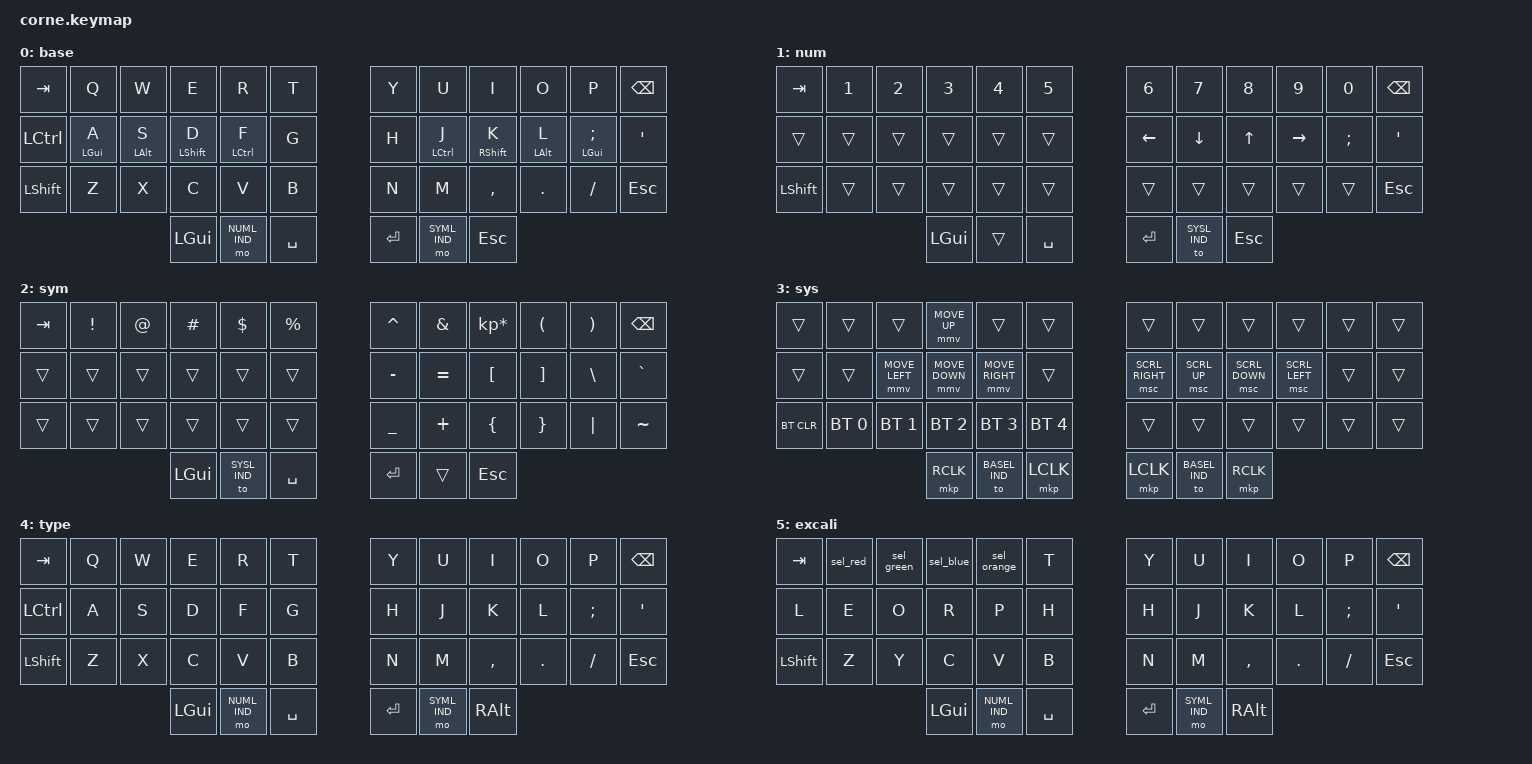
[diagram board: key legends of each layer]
#include <behaviors.dtsi>
#include <dt-bindings/zmk/keys.h>
#include <dt-bindings/zmk/bt.h>
#include <dt-bindings/zmk/mouse.h>

#include "zmk-helpers/helper.h"
#include "zmk-helpers/key-labels/42.h"

#define ___ &trans

#define BASEL_IND 0
#define NUML_IND 1
#define SYML_IND 2
#define SYSL_IND 3
#define TYPEL_IND 4
#define EXCALI_IND 5
// #define MOUL_IND 3

#define KEYS_L LT0 LT1 LT2 LT3 LT4 LT5 LM0 LM1 LM2 LM3 LM4 LM5 LB0 LB1 LB2 LB3 LB4 LB5  // left hand
#define KEYS_R RT0 RT1 RT2 RT3 RT4 RT5 RM0 RM1 RM2 RM3 RM4 RM5 RB0 RB1 RB2 RB3 RB4 RB5  // right hand
#define THUMBS LH2 LH1 LH0 RH0 RH1 RH2                                                  // thumbs on 36+ keys

// ======================= mouse config =======================
#define ZMK_MOUSE_DEFAULT_MOVE_VAL 1500  // 600
#define ZMK_MOUSE_DEFAULT_SCRL_VAL 20    // 10

// Config from @caksoylar, defaults in comments
&mmv {
  acceleration-exponent = <1>;      // 1
  time-to-max-speed-ms = <500>;     // 300
  delay-ms = <0>;                   // 0
};

&msc {
  acceleration-exponent = <1>;      // 0
  time-to-max-speed-ms = <40>;      // 300
  delay-ms = <0>;                   // 0
};

#define U_MS_U &mmv MOVE_UP
#define U_MS_D &mmv MOVE_DOWN
#define U_MS_L &mmv MOVE_LEFT
#define U_MS_R &mmv MOVE_RIGHT
#define U_WH_U &msc SCRL_UP
#define U_WH_D &msc SCRL_DOWN
#define U_WH_L &msc SCRL_LEFT
#define U_WH_R &msc SCRL_RIGHT
// ========================================

// ======================= home row mods =======================
#define MAKE_HRM(NAME, HOLD, TAP, TRIGGER_POS) \
    ZMK_HOLD_TAP(NAME, \
        flavor = "balanced"; \
        tapping-term-ms = <280>; \
        quick-tap-ms = <175>; \
        require-prior-idle-ms = <100>; \
        bindings = <HOLD>, <TAP>; \
        hold-trigger-key-positions = <TRIGGER_POS>; \
        hold-trigger-on-release; \
    )
MAKE_HRM(hml, &kp, &kp, KEYS_R THUMBS)  // left-hand HRMs
MAKE_HRM(hmr, &kp, &kp, KEYS_L THUMBS)  // right-hand HRMs
// ========================================
    
// ======================= macros for excalidraw =======================
ZMK_MACRO(sel_red, \
    compatible = "zmk,behavior-macro"; \
    #binding-cells = <0>; \
    bindings= <&kp S &kp B>; \
)
ZMK_MACRO(sel_green, \
    compatible = "zmk,behavior-macro"; \
    #binding-cells = <0>; \
    bindings= <&kp S &kp Z>; \
)
ZMK_MACRO(sel_blue, \
    compatible = "zmk,behavior-macro"; \
    #binding-cells = <0>; \
    bindings= <&kp S &kp S>; \
)
ZMK_MACRO(sel_orange, \
    compatible = "zmk,behavior-macro"; \
    #binding-cells = <0>; \
    bindings= <&kp S &kp V>; \
)


#include "combos.dtsi"  // must be sources after HRM-combo hack

ZMK_LAYER(base,
// ╭───────────────┬───────────────┬───────────────┬───────────────┬───────────────┬───────────────╮   ╭───────────────┬───────────────┬───────────────┬───────────────┬───────────────┬───────────────╮
    &kp TAB         &kp Q           &kp W           &kp E           &kp R           &kp T               &kp Y           &kp U           &kp I           &kp O           &kp P           &kp BSPC        
// ├───────────────├───────────────┼───────────────┼───────────────┼───────────────┼───────────────┤   ├───────────────├───────────────┼───────────────┼───────────────┼───────────────┼───────────────┤
    &kp LCTRL       &hml LGUI A     &hml LALT S     &hml LSHFT D    &hml LCTRL F    &kp G               &kp H           &hmr LCTRL J    &hmr RSHFT K    &hmr LALT L     &hmr LGUI SEMI  &kp SQT         
// ├───────────────├───────────────┼───────────────┼───────────────┼───────────────┼───────────────┤   ├───────────────├───────────────┼───────────────┼───────────────┼───────────────┼───────────────┤
    &kp LSHIFT      &kp Z           &kp X           &kp C           &kp V           &kp B               &kp N           &kp M           &kp COMMA       &kp DOT         &kp FSLH        &kp ESC         
// ╰───────────────┴───────────────┴───────────────┼───────────────┼───────────────┼───────────────┤   ├───────────────├───────────────┼───────────────┼───────────────┴───────────────┴───────────────╯
                                                    &kp LGUI        &mo NUML_IND    &kp SPACE           &kp RET         &mo SYML_IND    &kp ESC        
//                                                 ╰───────────────┴───────────────┴───────────────╯   ╰───────────────┴───────────────┴───────────────╯
)


ZMK_LAYER(num,
// ╭───────────────┬───────────────┬───────────────┬───────────────┬───────────────┬───────────────╮   ╭───────────────┬───────────────┬───────────────┬───────────────┬───────────────┬───────────────╮
    &kp TAB         &kp N1          &kp N2          &kp N3          &kp N4          &kp N5              &kp N6          &kp N7          &kp N8          &kp N9          &kp N0          &kp BSPC
// ├───────────────├───────────────┼───────────────┼───────────────┼───────────────┼───────────────┤   ├───────────────├───────────────┼───────────────┼───────────────┼───────────────┼───────────────┤
    ___             ___             ___             ___             ___             ___                 &kp LEFT        &kp DOWN        &kp UP          &kp RIGHT       &kp SEMI        &kp SQT
// ├───────────────├───────────────┼───────────────┼───────────────┼───────────────┼───────────────┤   ├───────────────├───────────────┼───────────────┼───────────────┼───────────────┼───────────────┤
    &kp LSHIFT      ___             ___             ___             ___             ___                 ___             ___             ___             ___             ___             &kp ESC
// ╰───────────────┴───────────────┴───────────────┼───────────────┼───────────────┼───────────────┤   ├───────────────├───────────────┼───────────────┼───────────────┴───────────────┴───────────────╯
                                                    &kp LGUI        ___             &kp SPACE           &kp RET         &to SYSL_IND    &kp ESC        
//                                                 ╰───────────────┴───────────────┴───────────────╯   ╰───────────────┴───────────────┴───────────────╯
)

ZMK_LAYER(sym,
// ╭───────────────┬───────────────┬───────────────┬───────────────┬───────────────┬───────────────╮   ╭───────────────┬───────────────┬───────────────┬───────────────┬───────────────┬───────────────╮
    &kp  TAB        &kp EXCL        &kp AT          &kp HASH        &kp DLLR        &kp PRCNT           &kp CARET       &kp AMPS        &kp KP_MULTIPLY &kp LPAR        &kp RPAR        &kp BSPC
// ├───────────────├───────────────┼───────────────┼───────────────┼───────────────┼───────────────┤   ├───────────────├───────────────┼───────────────┼───────────────┼───────────────┼───────────────┤
    ___             ___             ___             ___             ___             ___                 &kp MINUS       &kp EQUAL       &kp LBKT        &kp RBKT        &kp BSLH        &kp GRAVE
// ├───────────────├───────────────┼───────────────┼───────────────┼───────────────┼───────────────┤   ├───────────────├───────────────┼───────────────┼───────────────┼───────────────┼───────────────┤
    ___             ___             ___             ___             ___             ___                 &kp UNDER       &kp PLUS        &kp LBRC        &kp RBRC        &kp PIPE        &kp TILDE 
// ╰───────────────┴───────────────┴───────────────┼───────────────┼───────────────┼───────────────┤   ├───────────────├───────────────┼───────────────┼───────────────┴───────────────┴───────────────╯
                                                    &kp LGUI        &to SYSL_IND    &kp SPACE           &kp RET         ___             &kp ESC
//                                                 ╰───────────────┴───────────────┴───────────────╯   ╰───────────────┴───────────────┴───────────────╯
)

ZMK_LAYER(sys,
// ╭───────────────┬───────────────┬───────────────┬───────────────┬───────────────┬───────────────╮   ╭───────────────┬───────────────┬───────────────┬───────────────┬───────────────┬───────────────╮
    ___             ___             ___             U_MS_U          ___             ___                 ___             ___             ___             ___             ___             ___             
// ├───────────────├───────────────┼───────────────┼───────────────┼───────────────┼───────────────┤   ├───────────────├───────────────┼───────────────┼───────────────┼───────────────┼───────────────┤
    ___             ___             U_MS_L          U_MS_D          U_MS_R          ___                 U_WH_R          U_WH_U          U_WH_D          U_WH_L          ___             ___             
// ├───────────────├───────────────┼───────────────┼───────────────┼───────────────┼───────────────┤   ├───────────────├───────────────┼───────────────┼───────────────┼───────────────┼───────────────┤
    &bt BT_CLR      &bt BT_SEL 0    &bt BT_SEL 1    &bt BT_SEL 2    &bt BT_SEL 3    &bt BT_SEL 4        ___             ___             ___             ___             ___             ___             
// ╰───────────────┴───────────────┴───────────────┼───────────────┼───────────────┼───────────────┤   ├───────────────├───────────────┼───────────────┼───────────────┴───────────────┴───────────────╯
                                                    &mkp RCLK       &to BASEL_IND   &mkp LCLK           &mkp LCLK       &to BASEL_IND   &mkp RCLK
//                                                 ╰───────────────┴───────────────┴───────────────╯   ╰───────────────┴───────────────┴───────────────╯
)

ZMK_LAYER(type,
// ╭───────────────┬───────────────┬───────────────┬───────────────┬───────────────┬───────────────╮   ╭───────────────┬───────────────┬───────────────┬───────────────┬───────────────┬───────────────╮
    &kp TAB         &kp Q           &kp W           &kp E           &kp R           &kp T               &kp Y           &kp U           &kp I           &kp O           &kp P           &kp BSPC        
// ├───────────────├───────────────┼───────────────┼───────────────┼───────────────┼───────────────┤   ├───────────────├───────────────┼───────────────┼───────────────┼───────────────┼───────────────┤
    &kp LCTRL       &kp A           &kp S           &kp D           &kp F           &kp G               &kp H           &kp J           &kp K           &kp L           &kp SEMI        &kp SQT         
// ├───────────────├───────────────┼───────────────┼───────────────┼───────────────┼───────────────┤   ├───────────────├───────────────┼───────────────┼───────────────┼───────────────┼───────────────┤
    &kp LSHIFT      &kp Z           &kp X           &kp C           &kp V           &kp B               &kp N           &kp M           &kp COMMA       &kp DOT         &kp FSLH        &kp ESC         
// ╰───────────────┴───────────────┴───────────────┼───────────────┼───────────────┼───────────────┤   ├───────────────├───────────────┼───────────────┼───────────────┴───────────────┴───────────────╯
                                                    &kp LGUI        &mo NUML_IND    &kp SPACE           &kp RET         &mo SYML_IND    &kp RALT        
//                                                 ╰───────────────┴───────────────┴───────────────╯   ╰───────────────┴───────────────┴───────────────╯
)

ZMK_LAYER(excali,
// ╭───────────────┬───────────────┬───────────────┬───────────────┬───────────────┬───────────────╮   ╭───────────────┬───────────────┬───────────────┬───────────────┬───────────────┬───────────────╮
    &kp TAB         &sel_red        &sel_green      &sel_blue       &sel_orange     &kp T               &kp Y           &kp U           &kp I           &kp O           &kp P           &kp BSPC        
// ├───────────────├───────────────┼───────────────┼───────────────┼───────────────┼───────────────┤   ├───────────────├───────────────┼───────────────┼───────────────┼───────────────┼───────────────┤
    &kp L           &kp E           &kp O           &kp R           &kp P           &kp H               &kp H           &kp J           &kp K           &kp L           &kp SEMI        &kp SQT         
// ├───────────────├───────────────┼───────────────┼───────────────┼───────────────┼───────────────┤   ├───────────────├───────────────┼───────────────┼───────────────┼───────────────┼───────────────┤
    &kp LSHIFT      &kp Z           &kp Y           &kp C           &kp V           &kp B               &kp N           &kp M           &kp COMMA       &kp DOT         &kp FSLH        &kp ESC         
// ╰───────────────┴───────────────┴───────────────┼───────────────┼───────────────┼───────────────┤   ├───────────────├───────────────┼───────────────┼───────────────┴───────────────┴───────────────╯
                                                    &kp LGUI        &mo NUML_IND    &kp SPACE           &kp RET         &mo SYML_IND    &kp RALT        
//                                                 ╰───────────────┴───────────────┴───────────────╯   ╰───────────────┴───────────────┴───────────────╯
)


// ZMK_LAYER(sys,
// // ╭───────────────┬───────────────┬───────────────┬───────────────┬───────────────┬───────────────╮   ╭───────────────┬───────────────┬───────────────┬───────────────┬───────────────┬───────────────╮
//     &bt BT_CLR      &bt BT_SEL 0    &bt BT_SEL 1    &bt BT_SEL 2    &bt BT_SEL 3    &bt BT_SEL 4        ___             ___             ___             ___             ___             ___             
// // ├───────────────├───────────────┼───────────────┼───────────────┼───────────────┼───────────────┤   ├───────────────├───────────────┼───────────────┼───────────────┼───────────────┼───────────────┤
//     ___             ___             ___             ___             ___             &bootloader         &bootloader     ___             ___             ___             ___             ___             
// // ├───────────────├───────────────┼───────────────┼───────────────┼───────────────┼───────────────┤   ├───────────────├───────────────┼───────────────┼───────────────┼───────────────┼───────────────┤
//     ___             ___             ___             ___             ___             &sys_reset          &sys_reset      ___             ___             ___             ___             ___             
// // ╰───────────────┴───────────────┴───────────────┼───────────────┼───────────────┼───────────────┤   ├───────────────├───────────────┼───────────────┼───────────────┴───────────────┴───────────────╯
//                                                     ___             ___             ___                 ___             ___             ___            
// //                                                 ╰───────────────┴───────────────┴───────────────╯   ╰───────────────┴───────────────┴───────────────╯
// )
